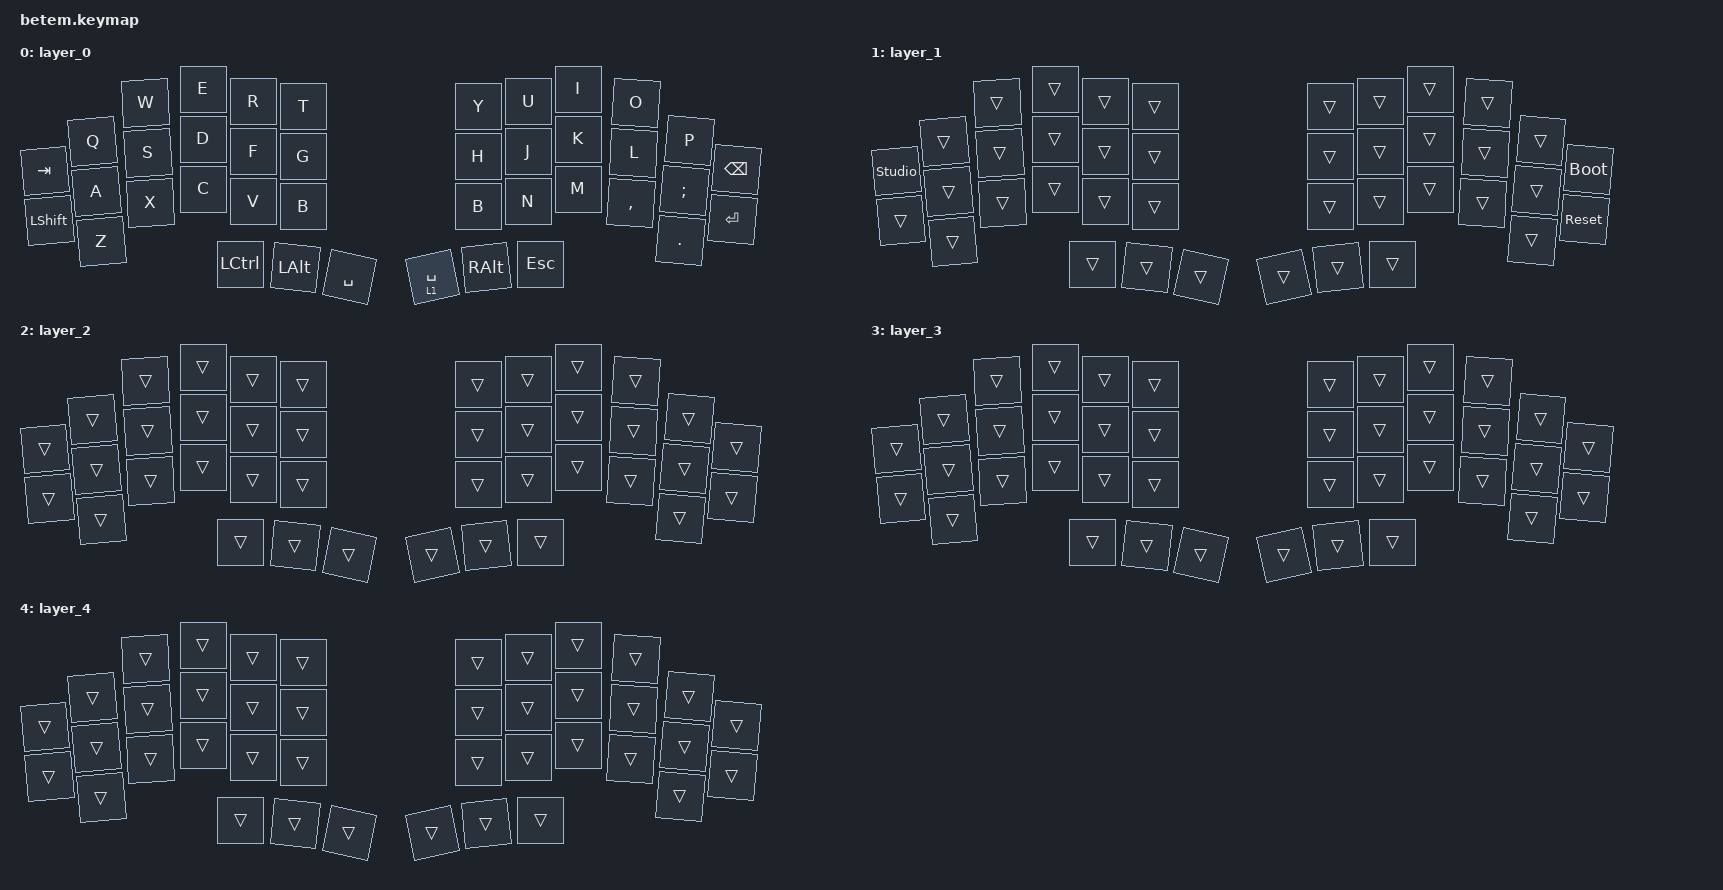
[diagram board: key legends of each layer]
/*
 * Copyright (c) 2020 The ZMK Contributors
 *
 * SPDX-License-Identifier: MIT
 */
#include <behaviors.dtsi>
#include <dt-bindings/zmk/keys.h>
#include <dt-bindings/zmk/bt.h>
#include <dt-bindings/zmk/outputs.h>
#include <dt-bindings/zmk/ext_power.h>

/ {
    keymap {
        compatible = "zmk,keymap";
        layer_0 {
            bindings = <
&kp TAB      &kp Q      &kp W     &kp E      &kp R      &kp T             &kp Y     &kp U     &kp I     &kp O     &kp P       &kp BACKSPACE
&kp LSHFT    &kp A      &kp S     &kp D      &kp F      &kp G             &kp H     &kp J     &kp K     &kp L     &kp SEMI    &kp ENTER 
             &kp Z      &kp X     &kp C      &kp V      &kp B             &kp B     &kp N     &kp M     &kp COMMA &kp DOT
                                  &kp LCTRL  &kp LALT   &kp SPACE         &lt 1 SPACE  &kp RALT  &kp ESC 
            >;
        };

        layer_1 {
            bindings = <
&studio_unlock &trans &trans     &trans     &trans     &trans            &trans     &trans     &trans     &trans     &trans     &bootloader
&trans     &trans     &trans     &trans     &trans     &trans            &trans     &trans     &trans     &trans     &trans     &sys_reset
           &trans     &trans     &trans     &trans     &trans            &trans     &trans     &trans     &trans     &trans
                                 &trans     &trans     &trans            &trans     &trans     &trans
            >;
        };

        layer_2 {
            bindings = <
&trans     &trans     &trans     &trans     &trans     &trans            &trans     &trans     &trans     &trans     &trans     &trans
&trans     &trans     &trans     &trans     &trans     &trans            &trans     &trans     &trans     &trans     &trans     &trans 
           &trans     &trans     &trans     &trans     &trans            &trans     &trans     &trans     &trans     &trans
                                 &trans     &trans     &trans            &trans     &trans     &trans
            >;
        };

        layer_3 {
            bindings = <
&trans     &trans     &trans     &trans     &trans     &trans            &trans     &trans     &trans     &trans     &trans     &trans
&trans     &trans     &trans     &trans     &trans     &trans            &trans     &trans     &trans     &trans     &trans     &trans 
           &trans     &trans     &trans     &trans     &trans            &trans     &trans     &trans     &trans     &trans
                                 &trans     &trans     &trans            &trans     &trans     &trans
            >;
        };

        layer_4 {
            bindings = <
&trans     &trans     &trans     &trans     &trans     &trans            &trans     &trans     &trans     &trans     &trans     &trans
&trans     &trans     &trans     &trans     &trans     &trans            &trans     &trans     &trans     &trans     &trans     &trans 
           &trans     &trans     &trans     &trans     &trans            &trans     &trans     &trans     &trans     &trans
                                 &trans     &trans     &trans            &trans     &trans     &trans
            >;
        };
    };
};
